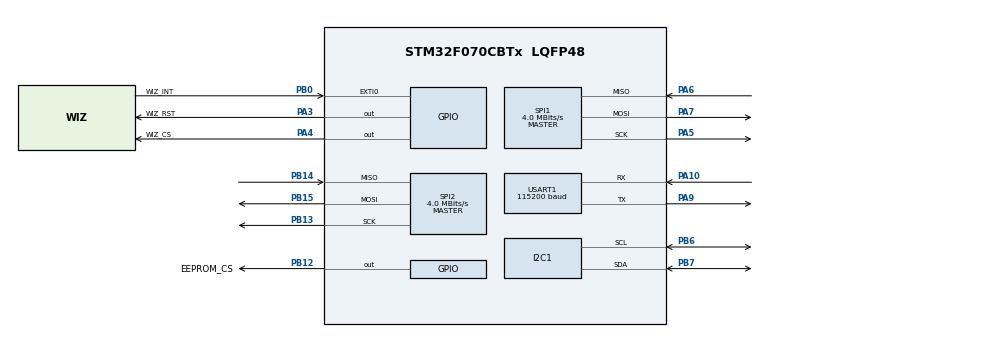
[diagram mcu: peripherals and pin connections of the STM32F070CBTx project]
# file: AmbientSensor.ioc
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FREERTOS.INCLUDE_uxTaskGetStackHighWaterMark=0
FREERTOS.INCLUDE_vTaskDelayUntil=1
FREERTOS.MEMORY_ALLOCATION=0
FREERTOS.Tasks01=defaultTask,3,256,StartDefaultTask,Default,NULL,Dynamic,NULL,NULL;luxTask,-2,256,StartLuxTask,Default,NULL,Dynamic,NULL,NULL;dhcpTask,1,256,DHCP_ClientTask,As external,&dhcp,Dynamic,NULL,NULL;mqttTask,0,256,StartMqttTask,Default,NULL,Dynamic,NULL,NULL;bmeTask,-2,256,StartBmeTask,Default,NULL,Dynamic,NULL,NULL;wizTask,2,256,StartWizTask,Default,&wiz,Dynamic,NULL,NULL
FREERTOS.configCHECK_FOR_STACK_OVERFLOW=2
FREERTOS.configENABLE_BACKWARD_COMPATIBILITY=0
FREERTOS.configMAX_PRIORITIES=7
FREERTOS.configTOTAL_HEAP_SIZE=10240
I2C1.Speed=100
Mcu.Family=STM32F0
Mcu.Name=STM32F070CBTx
Mcu.Package=LQFP48
NVIC.EXTI0_1_IRQn=true\:3\:0\:false\:false\:true\:true\:true\:true
NVIC.TIM1_BRK_UP_TRG_COM_IRQn=true\:0\:0\:false\:false\:true\:false\:false\:true
NVIC.TimeBase=TIM1_BRK_UP_TRG_COM_IRQn
NVIC.TimeBaseIP=TIM1
PA10.Mode=Asynchronous
PA10.Signal=USART1_RX
PA13.Mode=Serial_Wire
PA13.Signal=SYS_SWDIO
PA14.Mode=Serial_Wire
PA14.Signal=SYS_SWCLK
PA3.GPIO_Label=WIZ_RST
PA3.Signal=GPIO_Output
PA4.GPIO_Label=WIZ_CS
PA4.PinState=GPIO_PIN_SET
PA4.Signal=GPIO_Output
PA5.Mode=Full_Duplex_Master
PA5.Signal=SPI1_SCK
PA6.Mode=Full_Duplex_Master
PA6.Signal=SPI1_MISO
PA7.Mode=Full_Duplex_Master
PA7.Signal=SPI1_MOSI
PA9.Mode=Asynchronous
PA9.Signal=USART1_TX
PB0.GPIO_Label=WIZ_INT
PB0.GPIO_ModeDefaultEXTI=GPIO_MODE_IT_FALLING
PB0.Signal=GPXTI0
PB12.GPIO_Label=EEPROM_CS
PB12.PinState=GPIO_PIN_SET
PB12.Signal=GPIO_Output
PB13.Mode=Full_Duplex_Master
PB13.Signal=SPI2_SCK
PB14.Mode=Full_Duplex_Master
PB14.Signal=SPI2_MISO
PB15.Mode=Full_Duplex_Master
PB15.Signal=SPI2_MOSI
PB6.Mode=I2C
PB6.Signal=I2C1_SCL
PB7.Mode=I2C
PB7.Signal=I2C1_SDA
PF0-OSC_IN.Mode=HSE-External-Oscillator
PF0-OSC_IN.Signal=RCC_OSC_IN
PF1-OSC_OUT.Mode=HSE-External-Oscillator
PF1-OSC_OUT.Signal=RCC_OSC_OUT
ProjectManager.HeapSize=0x100
ProjectManager.StackSize=0x200
ProjectManager.TargetToolchain=Makefile
SPI1.BaudRatePrescaler=SPI_BAUDRATEPRESCALER_2
SPI1.CLKPolarity=SPI_POLARITY_LOW
SPI1.CalculateBaudRate=4.0 MBits/s
SPI1.DataSize=SPI_DATASIZE_8BIT
SPI1.Direction=SPI_DIRECTION_2LINES
SPI1.Mode=SPI_MODE_MASTER
SPI1.NSSPMode=SPI_NSS_PULSE_DISABLE
SPI1.VirtualType=VM_MASTER
SPI2.CalculateBaudRate=4.0 MBits/s
SPI2.DataSize=SPI_DATASIZE_8BIT
SPI2.Direction=SPI_DIRECTION_2LINES
SPI2.Mode=SPI_MODE_MASTER
SPI2.VirtualType=VM_MASTER
USART1.BaudRate=115200
USART1.VirtualMode-Asynchronous=VM_ASYNC
VP_FREERTOS_VS_CMSIS_V1.Mode=CMSIS_V1
VP_SYS_VS_tim1.Mode=TIM1
board=custom

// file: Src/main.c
/* USER CODE BEGIN Header */
/**
  ******************************************************************************
  * @file           : main.c
  * @brief          : Main program body
  ******************************************************************************
  ** This notice applies to any and all portions of this file
  * that are not between comment pairs USER CODE BEGIN and
  * USER CODE END. Other portions of this file, whether
  * inserted by the user or by software development tools
  * are owned by their respective copyright owners.
  *
  * COPYRIGHT(c) 2019 STMicroelectronics
  *
  * Redistribution and use in source and binary forms, with or without modification,
  * are permitted provided that the following conditions are met:
  *   1. Redistributions of source code must retain the above copyright notice,
  *      this list of conditions and the following disclaimer.
  *   2. Redistributions in binary form must reproduce the above copyright notice,
  *      this list of conditions and the following disclaimer in the documentation
  *      and/or other materials provided with the distribution.
  *   3. Neither the name of STMicroelectronics nor the names of its contributors
  *      may be used to endorse or promote products derived from this software
  *      without specific prior written permission.
  *
  * THIS SOFTWARE IS PROVIDED BY THE COPYRIGHT HOLDERS AND CONTRIBUTORS "AS IS"
  * AND ANY EXPRESS OR IMPLIED WARRANTIES, INCLUDING, BUT NOT LIMITED TO, THE
  * IMPLIED WARRANTIES OF MERCHANTABILITY AND FITNESS FOR A PARTICULAR PURPOSE ARE
  * DISCLAIMED. IN NO EVENT SHALL THE COPYRIGHT HOLDER OR CONTRIBUTORS BE LIABLE
  * FOR ANY DIRECT, INDIRECT, INCIDENTAL, SPECIAL, EXEMPLARY, OR CONSEQUENTIAL
  * DAMAGES (INCLUDING, BUT NOT LIMITED TO, PROCUREMENT OF SUBSTITUTE GOODS OR
  * SERVICES; LOSS OF USE, DATA, OR PROFITS; OR BUSINESS INTERRUPTION) HOWEVER
  * CAUSED AND ON ANY THEORY OF LIABILITY, WHETHER IN CONTRACT, STRICT LIABILITY,
  * OR TORT (INCLUDING NEGLIGENCE OR OTHERWISE) ARISING IN ANY WAY OUT OF THE USE
  * OF THIS SOFTWARE, EVEN IF ADVISED OF THE POSSIBILITY OF SUCH DAMAGE.
  *
  ******************************************************************************
  */
/* USER CODE END Header */

#include "main.h"
#include "cmsis_os.h"
#include "i2c.h"
#include "spi.h"
#include "usart.h"
#include "gpio.h"

/* USER CODE BEGIN PV */
/* Private variables ---------------------------------------------------------*/

/* USER CODE END PV */

void SystemClock_Config(void);
void MX_FREERTOS_Init(void);
/* USER CODE BEGIN PFP */
/* Private function prototypes -----------------------------------------------*/
/* USER CODE END PFP */

int main(void)
{

  /* MCU Configuration--------------------------------------------------------*/

  /* Reset of all peripherals, Initializes the Flash interface and the Systick. */
  HAL_Init();

  /* Configure the system clock */
  SystemClock_Config();

  /* Initialize all configured peripherals */
  MX_GPIO_Init();
  MX_USART1_UART_Init();
  MX_I2C1_Init();
  MX_SPI2_Init();
  MX_SPI1_Init();

  /* Call init function for freertos objects (in freertos.c) */
  MX_FREERTOS_Init();

  /* Start scheduler */
  osKernelStart();

  /* We should never get here as control is now taken by the scheduler */

  /* Infinite loop */
  while (1)
  {

  }
}

void SystemClock_Config(void)
{
  RCC_OscInitTypeDef RCC_OscInitStruct = {0};
  RCC_ClkInitTypeDef RCC_ClkInitStruct = {0};
  RCC_PeriphCLKInitTypeDef PeriphClkInit = {0};

  /** Initializes the CPU, AHB and APB busses clocks
  */
  RCC_OscInitStruct.OscillatorType = RCC_OSCILLATORTYPE_HSI;
  RCC_OscInitStruct.HSIState = RCC_HSI_ON;
  RCC_OscInitStruct.HSICalibrationValue = RCC_HSICALIBRATION_DEFAULT;
  RCC_OscInitStruct.PLL.PLLState = RCC_PLL_NONE;
  if (HAL_RCC_OscConfig(&RCC_OscInitStruct) != HAL_OK)
  {
    Error_Handler();
  }
  /** Initializes the CPU, AHB and APB busses clocks
  */
  RCC_ClkInitStruct.ClockType = RCC_CLOCKTYPE_HCLK|RCC_CLOCKTYPE_SYSCLK
                              |RCC_CLOCKTYPE_PCLK1;
  RCC_ClkInitStruct.SYSCLKSource = RCC_SYSCLKSOURCE_HSI;
  RCC_ClkInitStruct.AHBCLKDivider = RCC_SYSCLK_DIV1;
  RCC_ClkInitStruct.APB1CLKDivider = RCC_HCLK_DIV1;

  if (HAL_RCC_ClockConfig(&RCC_ClkInitStruct, FLASH_LATENCY_0) != HAL_OK)
  {
    Error_Handler();
  }
  PeriphClkInit.PeriphClockSelection = RCC_PERIPHCLK_USART1|RCC_PERIPHCLK_I2C1;
  PeriphClkInit.Usart1ClockSelection = RCC_USART1CLKSOURCE_PCLK1;
  PeriphClkInit.I2c1ClockSelection = RCC_I2C1CLKSOURCE_HSI;
  if (HAL_RCCEx_PeriphCLKConfig(&PeriphClkInit) != HAL_OK)
  {
    Error_Handler();
  }
}

void HAL_TIM_PeriodElapsedCallback(TIM_HandleTypeDef *htim)
{
  if (htim->Instance == TIM1) {
    HAL_IncTick();
  }
}

void Error_Handler(void)
{
  while(1)
  {
  }
}

#ifdef  USE_FULL_ASSERT
/**
  * @brief  Reports the name of the source file and the source line number
  *         where the assert_param error has occurred.
  * @param  file: pointer to the source file name
  * @param  line: assert_param error line source number
  * @retval None
  */
void assert_failed(char *file, uint32_t line)
{
  /* USER CODE BEGIN 6 */
  /* User can add his own implementation to report the file name and line number,
     tex: printf("Wrong parameters value: file %s on line %d\r\n", file, line) */
  LOG_CRITICAL("ASSERT %s:%lu", file, line);
  /* USER CODE END 6 */
}
#endif /* USE_FULL_ASSERT */

/************************ (C) COPYRIGHT STMicroelectronics *****END OF FILE****/

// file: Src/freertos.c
/* USER CODE BEGIN Header */
/**
  ******************************************************************************
  * File Name          : freertos.c
  * Description        : Code for freertos applications
  ******************************************************************************
  * This notice applies to any and all portions of this file
  * that are not between comment pairs USER CODE BEGIN and
  * USER CODE END. Other portions of this file, whether
  * inserted by the user or by software development tools
  * are owned by their respective copyright owners.
  *
  * Copyright (c) 2019 STMicroelectronics International N.V.
  * All rights reserved.
  *
  * Redistribution and use in source and binary forms, with or without
  * modification, are permitted, provided that the following conditions are met:
  *
  * 1. Redistribution of source code must retain the above copyright notice,
  *    this list of conditions and the following disclaimer.
  * 2. Redistributions in binary form must reproduce the above copyright notice,
  *    this list of conditions and the following disclaimer in the documentation
  *    and/or other materials provided with the distribution.
  * 3. Neither the name of STMicroelectronics nor the names of other
  *    contributors to this software may be used to endorse or promote products
  *    derived from this software without specific written permission.
  * 4. This software, including modifications and/or derivative works of this
  *    software, must execute solely and exclusively on microcontroller or
  *    microprocessor devices manufactured by or for STMicroelectronics.
  * 5. Redistribution and use of this software other than as permitted under
  *    this license is void and will automatically terminate your rights under
  *    this license.
  *
  * THIS SOFTWARE IS PROVIDED BY STMICROELECTRONICS AND CONTRIBUTORS "AS IS"
  * AND ANY EXPRESS, IMPLIED OR STATUTORY WARRANTIES, INCLUDING, BUT NOT
  * LIMITED TO, THE IMPLIED WARRANTIES OF MERCHANTABILITY, FITNESS FOR A
  * PARTICULAR PURPOSE AND NON-INFRINGEMENT OF THIRD PARTY INTELLECTUAL PROPERTY
  * RIGHTS ARE DISCLAIMED TO THE FULLEST EXTENT PERMITTED BY LAW. IN NO EVENT
  * SHALL STMICROELECTRONICS OR CONTRIBUTORS BE LIABLE FOR ANY DIRECT, INDIRECT,
  * INCIDENTAL, SPECIAL, EXEMPLARY, OR CONSEQUENTIAL DAMAGES (INCLUDING, BUT NOT
  * LIMITED TO, PROCUREMENT OF SUBSTITUTE GOODS OR SERVICES; LOSS OF USE, DATA,
  * OR PROFITS; OR BUSINESS INTERRUPTION) HOWEVER CAUSED AND ON ANY THEORY OF
  * LIABILITY, WHETHER IN CONTRACT, STRICT LIABILITY, OR TORT (INCLUDING
  * NEGLIGENCE OR OTHERWISE) ARISING IN ANY WAY OUT OF THE USE OF THIS SOFTWARE,
  * EVEN IF ADVISED OF THE POSSIBILITY OF SUCH DAMAGE.
  *
  ******************************************************************************
  */
/* USER CODE END Header */

#include "FreeRTOS.h"
#include "task.h"
#include "main.h"
#include "cmsis_os.h"

/* USER CODE BEGIN Includes */
#include <stdbool.h>
#include <string.h>
#include "i2c.h"
#include "spi.h"
#include "usart.h"
#include "gpio.h"

#include "shared.h"
#include "constants.h"
#include "logging/logging.h"
#include "eeprom/eeprom.h"
#include "opt3002/opt3002.h"
#include "bme280/bme280.h"
#include "w5500/w5500.h"
#include "w5500/dhcp.h"
#include "w5500/mqtt.h"
/* USER CODE END Includes */

/* USER CODE BEGIN PTD */

//! sample sources
typedef enum
{
  TYPE_TEMPEARTURE,
  TYPE_HUMIDITY,
  TYPE_PRESSURE,
  TYPE_LUX,
  TYPE_LAST,
} sample_type_t;

//! sample source strings
static const char* SAMPLE_TYPE[TYPE_LAST] =
{
  "/home/bedroom/"DEVICE_NAME"/temperature",
  "/home/bedroom/"DEVICE_NAME"/humidity",
  "/home/bedroom/"DEVICE_NAME"/pressure",
  "/home/bedroom/"DEVICE_NAME"/luminosity",
};

//! sample object
typedef struct sample_t
{
  float         value;  //!< sample value
  sample_type_t type;   //!< sample type
} sample_t;

/* USER CODE END PTD */

/* USER CODE BEGIN Variables */
static const UBaseType_t SAMPLE_QUEUE_SIZE = 16;
QueueHandle_t sampleQueue;
SemaphoreHandle_t i2c1Mutex;
/* USER CODE END Variables */
osThreadId defaultTaskHandle;
osThreadId luxTaskHandle;
osThreadId dhcpTaskHandle;
osThreadId mqttTaskHandle;
osThreadId bmeTaskHandle;
osThreadId wizTaskHandle;

/* USER CODE BEGIN FunctionPrototypes */
void HAL_GPIO_EXTI_Callback(uint16_t GPIO_Pin)
{
  BaseType_t xHigherPriorityTaskWoken = pdFALSE;

  // W5500 interrupt
  if (GPIO_Pin & WIZ_INT_Pin)
  {
    ASSERT(wizTaskHandle != NULL);
    vTaskNotifyGiveFromISR(wizTaskHandle, &xHigherPriorityTaskWoken);
  }

  portYIELD_FROM_ISR(xHigherPriorityTaskWoken);
}

/* USER CODE END FunctionPrototypes */

void StartDefaultTask(void const * argument);
void StartLuxTask(void const * argument);
extern void DHCP_ClientTask(void const * argument);
void StartMqttTask(void const * argument);
void StartBmeTask(void const * argument);
void StartWizTask(void const * argument);

void MX_FREERTOS_Init(void); /* (MISRA C 2004 rule 8.1) */

/* Hook prototypes */
void vApplicationStackOverflowHook(TaskHandle_t xTask, signed char *pcTaskName);

/* USER CODE BEGIN 4 */
void vApplicationStackOverflowHook(TaskHandle_t xTask, signed char *pcTaskName)
{
   /* Run time stack overflow checking is performed if
   configCHECK_FOR_STACK_OVERFLOW is defined to 1 or 2. This hook function is
   called if a stack overflow is detected. */
  LOG_CRITICAL("OVERFLOW: %s", pcTaskName);
}
/* USER CODE END 4 */

void MX_FREERTOS_Init(void) {

  /* USER CODE BEGIN RTOS_MUTEX */
  i2c1Mutex = xSemaphoreCreateMutex();
  /* USER CODE END RTOS_MUTEX */

  /* USER CODE BEGIN RTOS_QUEUES */
  sampleQueue = xQueueCreate(SAMPLE_QUEUE_SIZE, sizeof(sample_t));
  /* USER CODE END RTOS_QUEUES */

  /* Create the thread(s) */
  /* definition and creation of defaultTask */
  osThreadDef(defaultTask, StartDefaultTask, osPriorityRealtime, 0, 256);
  defaultTaskHandle = osThreadCreate(osThread(defaultTask), NULL);

  /* definition and creation of luxTask */
  osThreadDef(luxTask, StartLuxTask, osPriorityLow, 0, 256);
  luxTaskHandle = osThreadCreate(osThread(luxTask), NULL);

  /* definition and creation of dhcpTask */
  osThreadDef(dhcpTask, DHCP_ClientTask, osPriorityAboveNormal, 0, 256);
  dhcpTaskHandle = osThreadCreate(osThread(dhcpTask), (void*) &dhcp);

  /* definition and creation of mqttTask */
  osThreadDef(mqttTask, StartMqttTask, osPriorityNormal, 0, 256);
  mqttTaskHandle = osThreadCreate(osThread(mqttTask), NULL);

  /* definition and creation of bmeTask */
  osThreadDef(bmeTask, StartBmeTask, osPriorityLow, 0, 256);
  bmeTaskHandle = osThreadCreate(osThread(bmeTask), NULL);

  /* definition and creation of wizTask */
  osThreadDef(wizTask, StartWizTask, osPriorityHigh, 0, 256);
  wizTaskHandle = osThreadCreate(osThread(wizTask), (void*) &wiz);

}

/* USER CODE BEGIN Header_StartDefaultTask */
/**
  * @brief  This function cannot be deleted in the CubeMX code generator.
  * @param  argument: Not used
  * @retval None
  */
/* USER CODE END Header_StartDefaultTask */
void StartDefaultTask(void const * argument)
{

  /* USER CODE BEGIN StartDefaultTask */
  eeprom_status_t erc;
  w5500_status_t  wrc;

  // suspend tasks that require networking
  vTaskSuspend(dhcpTaskHandle);
  vTaskSuspend(mqttTaskHandle);

  // initialize UART logging
  Log_Init(&huart1);
  LOG_DEBUG("hello world!");

  // initialize shared device structures
  InitializeShared();

  // suspend these tasks when not bound
  dhcp.boundTask[0] = mqttTaskHandle;

  // read MAC from EEPROM
  do {
    erc = EEPROM_ReadMAC(&rom, wiz.mac);
    LOG_INFO("EEPROM Status: %s", EEPROM_StatusString(erc));
  } while (erc != EEPROM_OK);

  // log MAC
  LOG_INFO(
    "MAC %02X:%02X:%02X:%02X:%02X:%02X",
    wiz.mac[0],
    wiz.mac[1],
    wiz.mac[2],
    wiz.mac[3],
    wiz.mac[4],
    wiz.mac[5]
  );

  // initialize W5500
  do {
    wrc = W5500_Initialize(&wiz);
    LOG_INFO("W5500 Status: %s", W5500_StatusString(wrc));
  } while (wrc != W5500_OK);

  // log PHY status
  W5500_LogPhyStatus(&wiz);

  // resume other threads
  vTaskResume(dhcpTaskHandle);

  // delete yourself
  vTaskDelete(NULL);

  /* USER CODE END StartDefaultTask */
}

/* USER CODE BEGIN Header_StartLuxTask */
/**
* @brief Samples from an OPT3002 and places samples in a shared queue.
* @param argument: Not used
* @retval None
*/
/* USER CODE END Header_StartLuxTask */
void StartLuxTask(void const * argument)
{
  /* USER CODE BEGIN StartLuxTask */
  sample_t         optSample;     // OPT3002 sample
  opt3002_dev_t    optDev;        // OPT3002 device
  opt3002_cfg_t    optCfg;        // OPT3002 configuration
  opt3002_status_t rc;            // OPT3002 return codes
  bool             initialize;    // set to true to initialize OPT3002

  optSample.type  = TYPE_LUX;
  optDev.addr     = OPT3002_DEFAULT_ADDR << 1; // shifted 7-bit I2C address
  optDev.hi2cx    = hi2c1;                     // I2C port of the OPT3002
  optDev.busMutex = i2c1Mutex;                 // Mutex for the I2C bus
  optCfg.all      = OPT3002_DEFAULT_CFG;       // default configuration
  optCfg.bits.ct  = OPT3002_100_MS;            // conversion time
  optCfg.bits.m   = OPT3002_MODE_CONTINUOUS;   // continuous sample mode
  initialize      = true;

  while (1)
  {
    if (initialize)
    {
      LOG_DEBUG("Attempting OPT3002 initialization");
      rc = OPT3002_Init(&optDev, &optCfg);
      if (rc)
      {
        LOG_ERROR("OPT3002 initialization failed: %s", OPT3002_StatusString(rc));
      }
      else
      {
        LOG_INFO("OPT3002 initialized");
        initialize = false;
      }
    }
    else
    {
      // sample
      rc = OPT3002_Sample(&optDev, &optSample.value);
      if (rc)
      {
        LOG_ERROR("OPT3002 failed to sample: %s", OPT3002_StatusString(rc));
        initialize = true;
      }
      else
      {
        // enqueue samples for publishing
        xQueueSend(sampleQueue, (void *)&optSample, 0);
      }
    }

    // put this thread to sleep for the sample period
    vTaskDelay((configTICK_RATE_HZ * OPT3002_MIN_PERIOD) / 1000);
  }
  /* USER CODE END StartLuxTask */
}

/* USER CODE BEGIN Header_StartMqttTask */
/**
* @brief Pulls samples from the shared queue and publishes them.
* @param argument: Not used
* @retval None
*/
/* USER CODE END Header_StartMqttTask */
void StartMqttTask(void const * argument)
{
  /* USER CODE BEGIN StartMqttTask */

  // print buffer for samples
  static const size_t BUF_SIZE = 16;
  char printBuf[BUF_SIZE] __attribute__((aligned(16)));

  w5500_status_t rc;      // return code from client
  sample_t       sample;  // sample structure for fetching from queue
  int            printed; // characters printed by snprintf
  int32_t        whole;   // whole integer portion of floats for printing
  int32_t        decimal; // decimal portion of floats for printing

  while (1)
  {
    // initialize hardware and connect to MQTT server
    do {
      rc = MQTT_Initialize(&mqtt);
      if (rc != W5500_OK)
      {
        LOG_WARNING("MQTT_Initialize %s", W5500_StatusString(rc));
        continue;
      }

      rc = MQTT_Connect(&mqtt);
      if (rc != W5500_OK)
      {
        LOG_WARNING("MQTT_Connect %s", W5500_StatusString(rc));
      }
    } while (rc != W5500_OK);

    while (rc == W5500_OK)
    {
      // get sample from queue
      xQueueReceive(sampleQueue, (void*)&sample, portMAX_DELAY);

      // convert sample to string
      whole = (int32_t)sample.value;
      decimal = ((sample.value - (float)whole) * 1000);
      if (decimal < 0)
      {
        decimal *= -1;
      }
      printed = snprintf(printBuf, BUF_SIZE, "%01lu.%03lu", whole, decimal);

      // check for overflow
      if (printed > BUF_SIZE)
      {
        LOG_CRITICAL("BUFFER OVERFLOW %d vs %u", printed, BUF_SIZE);
        continue;
      }

      // publish sample
      rc = MQTT_Publish(
        &mqtt,                              // client
        SAMPLE_TYPE[sample.type],           // topic
        strlen(SAMPLE_TYPE[sample.type]),   // topic length
        printBuf,                           // payload
        (uint16_t)printed                   // payload length
      );
      if (rc != W5500_OK)
      {
        LOG_ERROR("MQTT_Publish failed %s", W5500_StatusString(rc));
      }
      else
      {
        LOG_INFO("MQTT_Publish %s %s", SAMPLE_TYPE[sample.type], printBuf);
      }
    }
  }
  /* USER CODE END StartMqttTask */
}

/* USER CODE BEGIN Header_StartBmeTask */
/**
* @brief Samples from an BME280 and places samples in a shared queue.
* @param argument: Not used
* @retval None
*/
/* USER CODE END Header_StartBmeTask */
void StartBmeTask(void const * argument)
{
  /* USER CODE BEGIN StartBmeTask */
  sample_t            temperatureSample;  // temperature sample structure
  sample_t            humiditySample;     // humidity sample structure
  sample_t            pressureSample;     // pressure sample structure
  bool                initialize;         // true when BME280 requires initialization
  bme280_status_t     rc;                 // BME280 return code
  bme280_dev_t        bmeDev;             // BME280 device
  bme280_ctrl_meas_t  ctrlMeas;           // BME280 measurement configuration
  bme280_ctrl_hum_t   ctrlHum;            // BME280 humidity configuration
  bme280_config_t     config;             // BME280 configuration
  TickType_t          standby;            // standby time in ticks

  bmeDev.addr        = BME280_DEFAULT_ADDR << 1; // shifted 7-bit I2C address
  bmeDev.hi2cx       = hi2c1;                    // I2C port of the BME280
  bmeDev.busMutex    = i2c1Mutex;                // Mutex for the I2C bus

  ctrlMeas.bits.osP  = BME280_OVERSAMPLE_08;    // pressure oversampling settings
  ctrlMeas.bits.osT  = BME280_OVERSAMPLE_08;    // temperature oversampling settings
  ctrlMeas.bits.mde  = BME280_MODE_NORMAL;      // BME280 mode
  ctrlHum.bits.osH   = BME280_OVERSAMPLE_08;    // humidity oversampling settings
  config.bits.filter = BME280_FILTER_16;        // filter settings
  config.bits.t_sb   = BME280_STANDBY_1000_ms;  // maximum standby to reduce self heating

  // initialize the BME280
  initialize = true;

  // get standby time in ticks
  standby = (BME280_GetStandbyTime(config.bits.t_sb) * configTICK_RATE_HZ) / 1000;

  // initialize sample structures
  temperatureSample.type = TYPE_TEMPEARTURE;
  humiditySample.type    = TYPE_HUMIDITY;
  pressureSample.type    = TYPE_PRESSURE;

  while (1)
  {
    if (initialize)
    {
      LOG_DEBUG("Attempting BME280 initialization");
      rc = BME280_Init(&bmeDev, &config, &ctrlMeas, &ctrlHum);
      if (rc)
      {
        LOG_ERROR("BME280 initialization failed: %s", BME280_StatusString(rc));
      }
      else
      {
        LOG_INFO("BME280 initialized");
        initialize = false;
      }
    }
    else
    {
      // sample
      rc = BME280_ReadEnvironment(
        &bmeDev,
        &temperatureSample.value,
        &pressureSample.value,
        &humiditySample.value
      );
      if (rc)
      {
        LOG_ERROR("BME280 failed to sample: %s", BME280_StatusString(rc));
        initialize = true;
      }
      else
      {
        // enqueue samples for publishing
        xQueueSend(sampleQueue, (void *)&temperatureSample, 0);
        xQueueSend(sampleQueue, (void *)&pressureSample,    0);
        xQueueSend(sampleQueue, (void *)&humiditySample,    0);
      }
    }

    // put this thread to sleep for the sample period
    vTaskDelay(standby);
  }
  /* USER CODE END StartBmeTask */
}

/* USER CODE BEGIN Header_StartWizTask */
/**
* @brief Handles W5500 interrupts, reads from the devices and sets the
         associated event groups if they exist.
* @param argument: Not used
* @retval None
*/
/* USER CODE END Header_StartWizTask */
void StartWizTask(void const * argument)
{
  /* USER CODE BEGIN StartWizTask */
  w5500_dev_t* dev = (w5500_dev_t*)argument;        // W5500 device from argument
  w5500_status_t rc;                                // W5500 return codes
  w5500_ir_t     ir   __attribute__((aligned(16))); // device interrupt register
  w5500_sn_ir_t  snir __attribute__((aligned(16))); // socket interrupt register
  uint8_t        sir  __attribute__((aligned(16))); // socket interrupt mask
  uint8_t        sn;                                // socket index

  while (1)
  {
    // wait for a notification from the interrupt handler
    ulTaskNotifyTake(pdFALSE, portMAX_DELAY);

    // loop while the interrupt pin is in reset
    do
    {
      rc = W5500_GetIR(dev, &ir);
      if (rc != W5500_OK)
      {
        LOG_CRITICAL("W5500_GetIR FAILED %s", W5500_StatusString(rc));
        ir.all = 0;
      }

      // print out interrupts
      if (ir.all)
      {
        if (ir.bits.conflict)
        {
          LOG_WARNING("UNHANDLED EVENT: CONFLICT");
        }
        if (ir.bits.unreach)
        {
          LOG_WARNING("UNHANDLED EVENT: UNREACH");
        }
        if (ir.bits.ppoe)
        {
          LOG_WARNING("UNHANDLED EVENT: PPOE");
        }
        if (ir.bits.mp)
        {
          LOG_WARNING("UNHANDLED EVENT: MP");
        }

        // clear interrupts
        rc = W5500_SetIR(dev, &ir);
        if (rc != W5500_OK)
        {
          LOG_CRITICAL("W5500_SetIR FAILED %s", W5500_StatusString(rc));
        }
      }

      rc = W5500_GetSIR(dev, &sir);
      if (rc != W5500_OK)
      {
        LOG_CRITICAL("W5500_GetSIR FAILED %s", W5500_StatusString(rc));
        sir = 0;
      }

      for (sn = 0; sn < W5500_NUM_SOCKETS; sn++)
      {
        if (sir & (1U << sn))
        {
          rc = W5500_GetSnIR(dev, sn, &snir);
          if (rc != W5500_OK)
          {
            LOG_CRITICAL("W5500_GetSnIR FAILED %s", W5500_StatusString(rc));
            continue;
          }

          // set the event bits for other tasks
          if (dev->snEvent[sn] != NULL)
          {
            xEventGroupSetBits(dev->snEvent[sn], snir.all);
          }
          else
          {
            if (snir.bits.con)
            {
              LOG_WARNING("UNHANDLED EVENT: SOCKET %u CON", sn);
            }
            if (snir.bits.discon)
            {
              LOG_WARNING("UNHANDLED EVENT: SOCKET %u DISCON", sn);
            }
            if (snir.bits.recv)
            {
              LOG_WARNING("UNHANDLED EVENT: SOCKET %u RECV", sn);
            }
            if (snir.bits.timeout)
            {
              LOG_WARNING("UNHANDLED EVENT: SOCKET %u TIMEOUT", sn);
            }
            if (snir.bits.sendok)
            {
              LOG_WARNING("UNHANDLED EVENT: SOCKET %u SEND_OK", sn);
            }
          }

          rc = W5500_SetSnIR(dev, sn, &snir);
          if (rc != W5500_OK)
          {
            LOG_CRITICAL("W5500_SetSnIR FAILED %s", W5500_StatusString(rc));
          }
        }
      }
    } while (HAL_GPIO_ReadPin(dev->intPort, dev->intPin) == GPIO_PIN_RESET);
  }
  /* USER CODE END StartWizTask */
}

/************************ (C) COPYRIGHT STMicroelectronics *****END OF FILE****/
